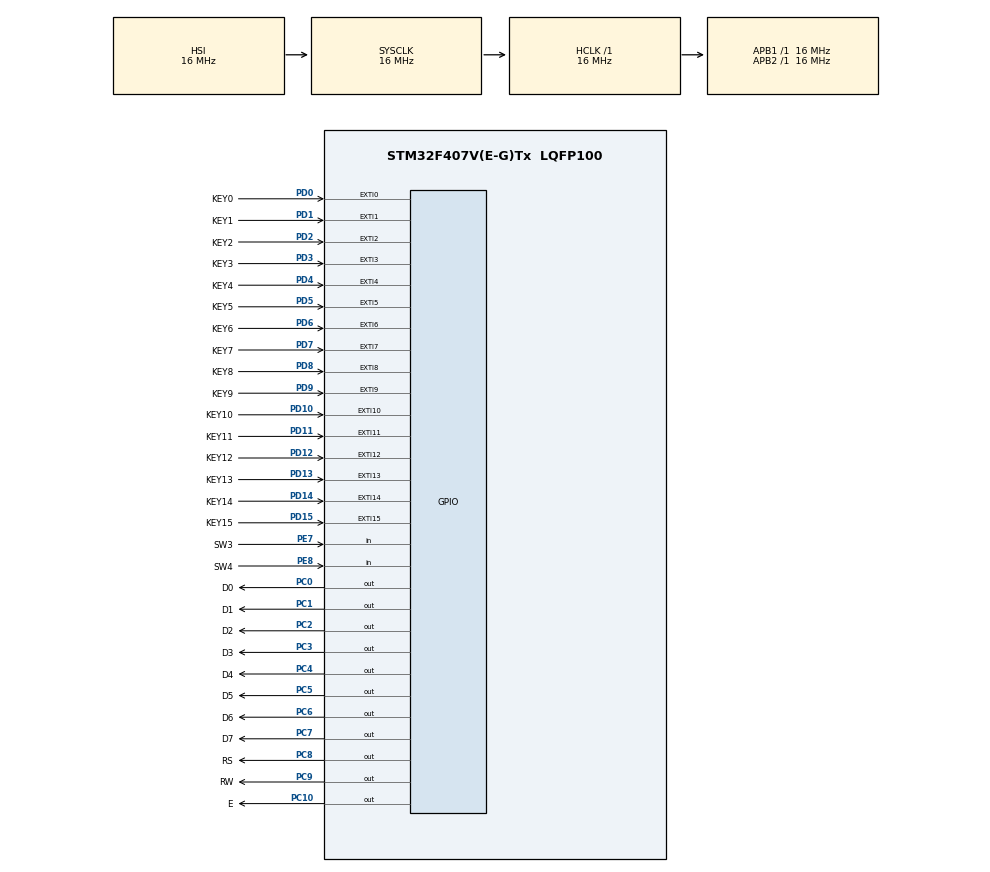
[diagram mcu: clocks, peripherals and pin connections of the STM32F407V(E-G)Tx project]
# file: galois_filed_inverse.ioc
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Mcu.Family=STM32F4
Mcu.Name=STM32F407V(E-G)Tx
Mcu.Package=LQFP100
NVIC.EXTI0_IRQn=true\:0\:0\:false\:false\:true\:true\:true\:true
NVIC.EXTI15_10_IRQn=true\:0\:0\:false\:false\:true\:true\:true\:true
NVIC.EXTI1_IRQn=true\:0\:0\:false\:false\:true\:true\:true\:true
NVIC.EXTI2_IRQn=true\:0\:0\:false\:false\:true\:true\:true\:true
NVIC.EXTI3_IRQn=true\:0\:0\:false\:false\:true\:true\:true\:true
NVIC.EXTI4_IRQn=true\:0\:0\:false\:false\:true\:true\:true\:true
NVIC.EXTI9_5_IRQn=true\:0\:0\:false\:false\:true\:true\:true\:true
NVIC.PriorityGroup=NVIC_PRIORITYGROUP_4
PC0.GPIO_Label=D0
PC0.Signal=GPIO_Output
PC1.GPIO_Label=D1
PC1.Signal=GPIO_Output
PC10.GPIO_Label=E
PC10.Signal=GPIO_Output
PC2.GPIO_Label=D2
PC2.Signal=GPIO_Output
PC3.GPIO_Label=D3
PC3.Signal=GPIO_Output
PC4.GPIO_Label=D4
PC4.Signal=GPIO_Output
PC5.GPIO_Label=D5
PC5.Signal=GPIO_Output
PC6.GPIO_Label=D6
PC6.Signal=GPIO_Output
PC7.GPIO_Label=D7
PC7.Signal=GPIO_Output
PC8.GPIO_Label=RS
PC8.Signal=GPIO_Output
PC9.GPIO_Label=RW
PC9.Signal=GPIO_Output
PD0.GPIO_Label=KEY0
PD0.Signal=GPXTI0
PD1.GPIO_Label=KEY1
PD1.Signal=GPXTI1
PD10.GPIO_Label=KEY10
PD10.Signal=GPXTI10
PD11.GPIO_Label=KEY11
PD11.Signal=GPXTI11
PD12.GPIO_Label=KEY12
PD12.Signal=GPXTI12
PD13.GPIO_Label=KEY13
PD13.Signal=GPXTI13
PD14.GPIO_Label=KEY14
PD14.Signal=GPXTI14
PD15.GPIO_Label=KEY15
PD15.Signal=GPXTI15
PD2.GPIO_Label=KEY2
PD2.Signal=GPXTI2
PD3.GPIO_Label=KEY3
PD3.Signal=GPXTI3
PD4.GPIO_Label=KEY4
PD4.Signal=GPXTI4
PD5.GPIO_Label=KEY5
PD5.Signal=GPXTI5
PD6.GPIO_Label=KEY6
PD6.Signal=GPXTI6
PD7.GPIO_Label=KEY7
PD7.Signal=GPXTI7
PD8.GPIO_Label=KEY8
PD8.Signal=GPXTI8
PD9.GPIO_Label=KEY9
PD9.Signal=GPXTI9
PE7.GPIO_Label=SW3
PE7.GPIO_Mode=GPIO_MODE_INPUT
PE7.GPIO_PuPd=GPIO_PULLUP
PE7.Signal=GPIO_Input
PE8.GPIO_Label=SW4
PE8.GPIO_PuPd=GPIO_PULLUP
PE8.Signal=GPIO_Input
ProjectManager.HeapSize=0x200
ProjectManager.StackSize=0x400
ProjectManager.TargetToolchain=STM32CubeIDE
RCC.AHBFreq_Value=16000000
RCC.APB1Freq_Value=16000000
RCC.APB2Freq_Value=16000000
RCC.CortexFreq_Value=16000000
RCC.HSE_VALUE=25000000
RCC.HSI_VALUE=16000000
RCC.LSE_VALUE=32768
RCC.SYSCLKFreq_VALUE=16000000
RCC.VCOOutputFreq_Value=192000000
board=custom

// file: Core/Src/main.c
/* USER CODE BEGIN Header */
/**
  ******************************************************************************
  * @file           : main.c
  * @brief          : Main program body
  ******************************************************************************
  * @attention
  *
  * Copyright (c) 2022 STMicroelectronics.
  * All rights reserved.
  *
  * This software is licensed under terms that can be found in the LICENSE file
  * in the root directory of this software component.
  * If no LICENSE file comes with this software, it is provided AS-IS.
  *
  ******************************************************************************
  */
/* USER CODE END Header */
#include "main.h"
#include "gf_cal.h"
#include "STM_LCD16x2.h"

/* USER CODE BEGIN PTD */
int index = 0;
uint8_t uint_hex = 0;
int cal_mode = 0;
int reset_mode = 0;
char hex_number[2] = {'-1','-1'};
uint8_t result;
char hex_text[10] = {'0','x','0','-1'};
char text[3];
uint16_t keyPad;
/* USER CODE END PTD */

/* USER CODE BEGIN PM */
unsigned int ascii_to_hex(const char* str)
{
	uint8_t result;
	unsigned int i = 0, h, high, low;
	high = (str[i] > '9') ? str[i] - 'A' + 10 : str[i] - '0';
	low = (str[i + 1] > '9') ? str[i + 1] - 'A' + 10 : str[i + 1] - '0';
	result = (high << 4) | low;
	return result;
}
/* USER CODE END PM */

void SystemClock_Config(void);
static void MX_GPIO_Init(void);

int main(void)
{

  /* MCU Configuration--------------------------------------------------------*/

  /* Reset of all peripherals, Initializes the Flash interface and the Systick. */
  HAL_Init();

  /* Configure the system clock */
  SystemClock_Config();

  /* Initialize all configured peripherals */
  MX_GPIO_Init();
  /* USER CODE BEGIN 2 */
  char *welcom = "Welcome galois \n\r";
  char *welcom2 = "field! \n\r";
  char *input_text = "click Key Pad";
  char inversion_result[22] = "Result : ";
  char calculating[] = "Calculating...";
  char initial_message[] = "Initializing....";
  GPIO_PinState pin_state;
  /* USER CODE END 2 */
  LCD1602_Begin8BIT(RS_GPIO_Port, RS_Pin, E_Pin, D0_GPIO_Port, D0_Pin, D1_Pin, D2_Pin, D3_Pin, D4_GPIO_Port, D4_Pin, D5_Pin, D6_Pin, D7_Pin);
    LCD1602_print(welcom);
    LCD1602_2ndLine();
    LCD1602_print(welcom2);
    LCD1602_1stLine();
    HAL_Delay(1000);
    LCD1602_clear();
    LCD1602_print(input_text);
    HAL_Delay(2000);
    /* Infinite loop */
    /* USER CODE BEGIN WHILE */
    while (1)
    {
    	LCD1602_print(input_text);
    	HAL_Delay(500);
    	LCD1602_clear();
    	if(index == 2){
    		    LCD1602_clear();
    			uint_hex = ascii_to_hex(hex_number);
    			sprintf(hex_text, "0x%02x", uint_hex);
    			LCD1602_print(hex_text);
    			LCD1602_2ndLine();
    			LCD1602_print(calculating);
    			HAL_Delay(2000);

    			LCD1602_clear();
    			LCD1602_1stLine();

    			result = gf_inverse(uint_hex, FIELD_POLY);
    			sprintf(hex_text, "0x%02x", result);
    			LCD1602_print(inversion_result);
    			LCD1602_2ndLine();
    			LCD1602_print(hex_text);
    			HAL_Delay(2000);

    			LCD1602_clear();
    			LCD1602_1stLine();
    			LCD1602_print(initial_message);
    			HAL_Delay(2000);

    			index = 0;
    		}

    	 switch(keyPad){
    	    case KEY0_Pin:
    	    	hex_number[index] = '0';
    	    	keyPad = NULL;
    	    	index++;
    	    	break;
    	    case KEY1_Pin:
    	    	hex_number[index] = '1';
    	    	keyPad = NULL;
    	    	index++;
    	        break;
    	    case KEY2_Pin:
    	    	hex_number[index] = '2';
    	    	keyPad = NULL;
    	    	index++;
    	        break;
    	    case KEY3_Pin:
    	    	hex_number[index] = '3';
    	    	keyPad = NULL;
    	    	index++;
    	        break;
    	    case KEY4_Pin:
    	    	hex_number[index] = '4';
    	    	keyPad = NULL;
    	    	index++;
    	        break;
    	    case KEY5_Pin:
    	    	hex_number[index] = '5';
    	    	keyPad = NULL;
    	    	index++;
    	        break;
    	    case KEY6_Pin:
    	    	hex_number[index] = '6';
    	    	keyPad = NULL;
    	    	index++;
    	        break;
    	    case KEY7_Pin:
    	    	hex_number[index] = '7';
    	    	keyPad = NULL;
    	    	index++;
    	        break;
    	    case KEY8_Pin:
    	    	hex_number[index] = '8';
    	    	keyPad = NULL;
    	    	index++;
    	        break;
    	    case KEY9_Pin:
    	    	hex_number[index] = '9';
    	    	keyPad = NULL;
    	    	index++;
    	        break;
    	    case KEY10_Pin:
    	    	hex_number[index] = 'A';
    	    	keyPad = NULL;
    	    	index++;
    	        break;
    	    case KEY11_Pin:
    	    	hex_number[index] = 'B';
    	    	keyPad = NULL;
    	    	index++;
    	        break;
    	    case KEY12_Pin:
    	    	hex_number[index] = 'C';
    	    	keyPad = NULL;
    	    	index++;
    	        break;
    	    case KEY13_Pin:
    	    	hex_number[index] = 'D';
    	    	keyPad = NULL;
    	    	index++;
    	        break;
    	    case KEY14_Pin:
    	    	hex_number[index] = 'E';
    	    	keyPad = NULL;
    	    	index++;
    	        break;
    	    case KEY15_Pin:
    	    	hex_number[index] = 'F';
    	    	keyPad = NULL;
    	    	index++;
    	        break;
    	    default:
    	    	break;
    	    }

    }
}

void SystemClock_Config(void)
{
  RCC_OscInitTypeDef RCC_OscInitStruct = {0};
  RCC_ClkInitTypeDef RCC_ClkInitStruct = {0};

  /** Configure the main internal regulator output voltage
  */
  __HAL_RCC_PWR_CLK_ENABLE();
  __HAL_PWR_VOLTAGESCALING_CONFIG(PWR_REGULATOR_VOLTAGE_SCALE1);

  /** Initializes the RCC Oscillators according to the specified parameters
  * in the RCC_OscInitTypeDef structure.
  */
  RCC_OscInitStruct.OscillatorType = RCC_OSCILLATORTYPE_HSI;
  RCC_OscInitStruct.HSIState = RCC_HSI_ON;
  RCC_OscInitStruct.HSICalibrationValue = RCC_HSICALIBRATION_DEFAULT;
  RCC_OscInitStruct.PLL.PLLState = RCC_PLL_NONE;
  if (HAL_RCC_OscConfig(&RCC_OscInitStruct) != HAL_OK)
  {
    Error_Handler();
  }

  /** Initializes the CPU, AHB and APB buses clocks
  */
  RCC_ClkInitStruct.ClockType = RCC_CLOCKTYPE_HCLK|RCC_CLOCKTYPE_SYSCLK
                              |RCC_CLOCKTYPE_PCLK1|RCC_CLOCKTYPE_PCLK2;
  RCC_ClkInitStruct.SYSCLKSource = RCC_SYSCLKSOURCE_HSI;
  RCC_ClkInitStruct.AHBCLKDivider = RCC_SYSCLK_DIV1;
  RCC_ClkInitStruct.APB1CLKDivider = RCC_HCLK_DIV1;
  RCC_ClkInitStruct.APB2CLKDivider = RCC_HCLK_DIV1;

  if (HAL_RCC_ClockConfig(&RCC_ClkInitStruct, FLASH_LATENCY_0) != HAL_OK)
  {
    Error_Handler();
  }
}

static void MX_GPIO_Init(void)
{
  GPIO_InitTypeDef GPIO_InitStruct = {0};

  /* GPIO Ports Clock Enable */
  __HAL_RCC_GPIOC_CLK_ENABLE();
  __HAL_RCC_GPIOE_CLK_ENABLE();
  __HAL_RCC_GPIOD_CLK_ENABLE();

  /*Configure GPIO pin Output Level */
  HAL_GPIO_WritePin(GPIOC, D0_Pin|D1_Pin|D2_Pin|D3_Pin
                          |D4_Pin|D5_Pin|D6_Pin|D7_Pin
                          |RS_Pin|RW_Pin|E_Pin, GPIO_PIN_RESET);

  /*Configure GPIO pins : D0_Pin D1_Pin D2_Pin D3_Pin
                           D4_Pin D5_Pin D6_Pin D7_Pin
                           RS_Pin RW_Pin E_Pin */
  GPIO_InitStruct.Pin = D0_Pin|D1_Pin|D2_Pin|D3_Pin
                          |D4_Pin|D5_Pin|D6_Pin|D7_Pin
                          |RS_Pin|RW_Pin|E_Pin;
  GPIO_InitStruct.Mode = GPIO_MODE_OUTPUT_PP;
  GPIO_InitStruct.Pull = GPIO_NOPULL;
  GPIO_InitStruct.Speed = GPIO_SPEED_FREQ_LOW;
  HAL_GPIO_Init(GPIOC, &GPIO_InitStruct);

  /*Configure GPIO pins : SW3_Pin SW4_Pin */
  GPIO_InitStruct.Pin = SW3_Pin|SW4_Pin;
  GPIO_InitStruct.Mode = GPIO_MODE_INPUT;
  GPIO_InitStruct.Pull = GPIO_PULLUP;
  HAL_GPIO_Init(GPIOE, &GPIO_InitStruct);

  /*Configure GPIO pins : KEY8_Pin KEY9_Pin KEY10_Pin KEY11_Pin
                           KEY12_Pin KEY13_Pin KEY14_Pin KEY15_Pin
                           KEY0_Pin KEY1_Pin KEY2_Pin KEY3_Pin
                           KEY4_Pin KEY5_Pin KEY6_Pin KEY7_Pin */
  GPIO_InitStruct.Pin = KEY8_Pin|KEY9_Pin|KEY10_Pin|KEY11_Pin
                          |KEY12_Pin|KEY13_Pin|KEY14_Pin|KEY15_Pin
                          |KEY0_Pin|KEY1_Pin|KEY2_Pin|KEY3_Pin
                          |KEY4_Pin|KEY5_Pin|KEY6_Pin|KEY7_Pin;
  GPIO_InitStruct.Mode = GPIO_MODE_IT_RISING;
  GPIO_InitStruct.Pull = GPIO_NOPULL;
  HAL_GPIO_Init(GPIOD, &GPIO_InitStruct);

  /* EXTI interrupt init*/
  HAL_NVIC_SetPriority(EXTI0_IRQn, 0, 0);
  HAL_NVIC_EnableIRQ(EXTI0_IRQn);

  HAL_NVIC_SetPriority(EXTI1_IRQn, 0, 0);
  HAL_NVIC_EnableIRQ(EXTI1_IRQn);

  HAL_NVIC_SetPriority(EXTI2_IRQn, 0, 0);
  HAL_NVIC_EnableIRQ(EXTI2_IRQn);

  HAL_NVIC_SetPriority(EXTI3_IRQn, 0, 0);
  HAL_NVIC_EnableIRQ(EXTI3_IRQn);

  HAL_NVIC_SetPriority(EXTI4_IRQn, 0, 0);
  HAL_NVIC_EnableIRQ(EXTI4_IRQn);

  HAL_NVIC_SetPriority(EXTI9_5_IRQn, 0, 0);
  HAL_NVIC_EnableIRQ(EXTI9_5_IRQn);

  HAL_NVIC_SetPriority(EXTI15_10_IRQn, 0, 0);
  HAL_NVIC_EnableIRQ(EXTI15_10_IRQn);

}

/* USER CODE BEGIN 4 */
void HAL_GPIO_EXTI_Callback(uint16_t GPIO_Pin)
{
	keyPad = GPIO_Pin;

}

/* USER CODE END 4 */

void Error_Handler(void)
{
  __disable_irq();
  while (1)
  {
  }
}
